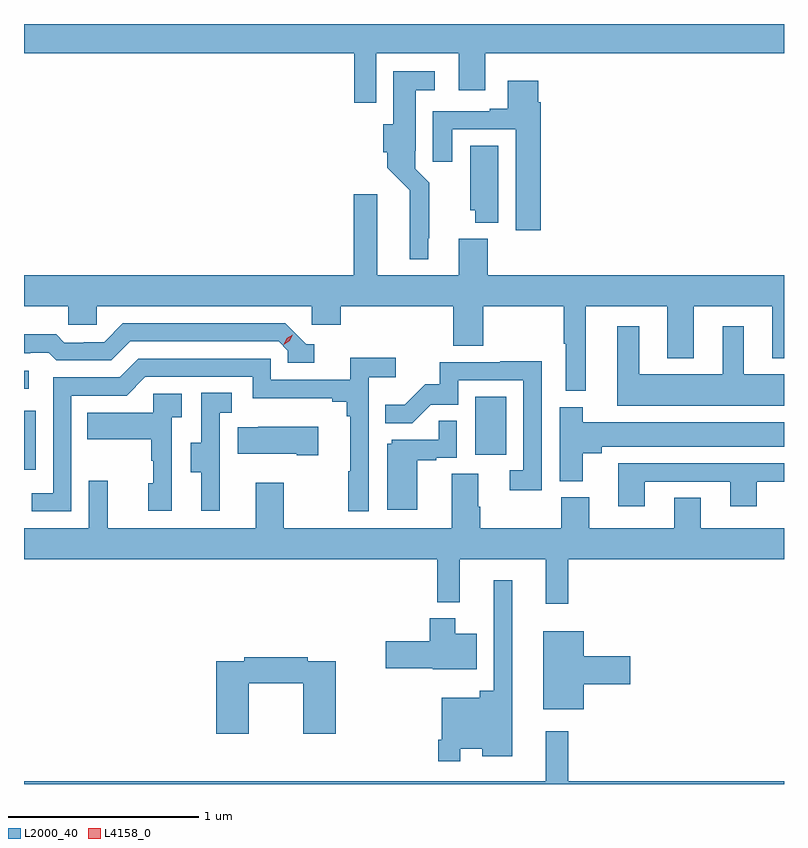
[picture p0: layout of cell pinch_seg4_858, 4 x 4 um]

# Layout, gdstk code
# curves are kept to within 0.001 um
import gdstk
lib = gdstk.Library(unit=1e-6, precision=1e-09)
def R(c, l, rs):  # rectangles x0, y0, x1, y1
    for r in rs: c.add(gdstk.rectangle(r[:2], r[2:], *l))
def P(c, l, *ps):  # polygons
    for p in ps: c.add(gdstk.Polygon(p, *l))
L2000_40 = (2000, 40)
L4158_0 = (4158, 0)

pinch_seg4_858 = lib.new_cell('pinch_seg4_858')
R(pinch_seg4_858, L2000_40, [(852.741,801.288,852.804,801.598), (855.116,801.366,855.28,801.673), (852.741,801.714,852.766,801.81)])
P(pinch_seg4_858, L2000_40, [(854.595,803.48),(855.029,803.48),(855.029,803.286),(855.169,803.286),(855.169,803.48),(856.741,803.48),(856.741,803.634),(852.741,803.634),(852.741,803.48),(854.479,803.48),(854.479,803.22),(854.595,803.22)],
  [(854.869,802.507),(854.873,802.507),(854.873,802.798),(854.799,802.872),(854.799,802.966),(854.803,802.966),(854.803,803.285),(854.902,803.285),(854.902,803.386),(854.684,803.386),(854.684,803.106),(854.633,803.106),(854.633,802.958),(854.654,802.958),(854.654,802.878),(854.772,802.76),(854.771,802.397),(854.869,802.397)],
  [(855.461,803.222),(855.448,803.222),(855.448,803.335),(855.287,803.335),(855.287,803.188),(855.191,803.188),(855.191,803.175),(854.891,803.175),(854.891,802.908),(854.995,802.908),(854.995,803.079),(855.329,803.079),(855.329,802.548),(855.461,802.548)],
  [(855.238,802.994),(855.089,802.994),(855.089,802.653),(855.116,802.653),(855.116,802.589),(855.238,802.589)],
  [(855.697,802.148),(856.127,802.148),(856.127,801.875),(856.267,801.875),(856.267,802.148),(856.679,802.148),(856.679,801.875),(856.741,801.875),(856.741,802.312),(855.182,802.312),(855.182,802.504),(855.029,802.504),(855.029,802.312),(854.599,802.312),(854.599,802.738),(854.477,802.738),(854.477,802.312),(852.741,802.312),(852.741,802.148),(852.975,802.148),(852.975,802.05),(853.125,802.05),(853.125,802.148),(854.256,802.148),(854.256,802.05),(854.408,802.05),(854.408,802.148),(854.999,802.148),(854.999,801.94),(855.159,801.94),(855.159,802.148),(855.583,802.148),(855.583,801.952),(855.593,801.952),(855.593,801.703),(855.697,801.703)],
  [(854.269,801.948),(854.226,801.948),(854.115,802.059),(853.262,802.059),(853.163,801.96),(853.056,801.96),(853.056,801.957),(852.953,801.957),(852.911,802),(852.741,802),(852.741,801.9),(852.773,801.9),(852.773,801.903),(852.872,801.903),(852.911,801.864),(853.2,801.864),(853.299,801.963),(854.082,801.963),(854.13,801.915),(854.13,801.852),(854.269,801.852)],
  [(856.741,801.79),(856.528,801.79),(856.528,802.042),(856.418,802.042),(856.418,801.79),(855.979,801.79),(855.979,802.042),(855.863,802.042),(855.863,801.626),(856.741,801.626)],
  [(852.99,801.678),(853.281,801.678),(853.38,801.777),(853.944,801.777),(853.944,801.665),(854.363,801.665),(854.363,801.646),(854.44,801.646),(854.44,801.569),(854.459,801.569),(854.459,801.281),(854.448,801.281),(854.448,801.069),(854.556,801.069),(854.556,801.776),(854.698,801.776),(854.698,801.878),(854.459,801.878),(854.459,801.762),(854.04,801.762),(854.04,801.873),(853.343,801.873),(853.244,801.774),(852.894,801.774),(852.894,801.165),(852.781,801.165),(852.781,801.069),(852.99,801.069)],
  [(855.465,801.86),(855.247,801.86),(855.247,801.855),(854.929,801.855),(854.929,801.738),(854.852,801.738),(854.745,801.631),(854.641,801.631),(854.641,801.532),(854.785,801.532),(854.883,801.63),(855.027,801.63),(855.027,801.759),(855.369,801.759),(855.369,801.285),(855.297,801.285),(855.297,801.18),(855.465,801.18)],
  [(853.772,801.285),(853.77,801.285),(853.77,801.589),(853.834,801.589),(853.834,801.692),(853.674,801.692),(853.674,801.429),(853.619,801.429),(853.619,801.274),(853.673,801.274),(853.673,801.072),(853.772,801.072)],
  [(853.518,801.563),(853.57,801.563),(853.57,801.687),(853.422,801.687),(853.422,801.589),(853.075,801.589),(853.075,801.449),(853.41,801.449),(853.41,801.335),(853.42,801.335),(853.42,801.216),(853.394,801.216),(853.394,801.072),(853.518,801.072)],
  [(855.682,801.374),(855.781,801.374),(855.781,801.41),(856.741,801.41),(856.741,801.538),(855.682,801.538),(855.682,801.618),(855.56,801.618),(855.56,801.227),(855.682,801.227)],
  [(854.812,801.339),(854.912,801.339),(854.912,801.351),(855.018,801.351),(855.018,801.545),(854.923,801.545),(854.923,801.447),(854.676,801.447),(854.676,801.426),(854.654,801.426),(854.654,801.078),(854.812,801.078)],
  [(854.29,801.514),(853.975,801.514),(853.975,801.511),(853.867,801.511),(853.867,801.371),(854.177,801.371),(854.177,801.364),(854.29,801.364)],
  [(856.009,801.225),(856.457,801.225),(856.457,801.096),(856.597,801.096),(856.597,801.225),(856.741,801.225),(856.741,801.321),(855.869,801.321),(855.869,801.096),(856.009,801.096)],
  [(855.605,800.816),(856.741,800.816),(856.741,800.98),(856.303,800.98),(856.303,801.14),(856.163,801.14),(856.163,800.98),(855.715,800.98),(855.715,801.142),(855.568,801.142),(855.568,800.98),(855.141,800.98),(855.141,801.092),(855.133,801.092),(855.133,801.266),(854.993,801.266),(854.993,800.98),(854.109,800.98),(854.109,801.22),(853.961,801.22),(853.961,800.98),(853.181,800.98),(853.181,801.229),(853.083,801.229),(853.083,800.98),(852.741,800.98),(852.741,800.816),(854.917,800.816),(854.917,800.591),(855.035,800.591),(855.035,800.816),(855.488,800.816),(855.488,800.583),(855.605,800.583)],
  [(855.036,799.82),(855.152,799.82),(855.152,799.781),(855.31,799.781),(855.31,800.707),(855.213,800.707),(855.213,800.125),(855.14,800.125),(855.14,800.089),(854.94,800.089),(854.94,799.867),(854.92,799.867),(854.92,799.755),(855.036,799.755)],
  [(855.124,800.425),(855.01,800.425),(855.01,800.506),(854.876,800.506),(854.876,800.385),(854.646,800.385),(854.646,800.243),(854.892,800.243),(854.892,800.237),(855.124,800.237)],
  [(855.688,800.159),(855.931,800.159),(855.931,800.306),(855.688,800.306),(855.688,800.437),(855.473,800.437),(855.473,800.027),(855.688,800.027)],
  [(853.924,800.164),(854.21,800.164),(854.21,799.899),(854.381,799.899),(854.381,800.28),(854.234,800.28),(854.234,800.3),(853.9,800.3),(853.9,800.28),(853.754,800.28),(853.754,799.899),(853.924,799.899)],
  [(856.741,799.648),(855.605,799.648),(855.605,799.912),(855.488,799.912),(855.488,799.648),(852.741,799.648),(852.741,799.634),(856.741,799.634)])
P(pinch_seg4_858, L4158_0, [(854.108,801.946),(854.108,801.947),(854.125,801.979),(854.156,801.999),(854.156,801.999),(854.156,801.999),(854.14,801.966),(854.109,801.946)])

lib.write_gds('pinch_seg4_858.gds')
